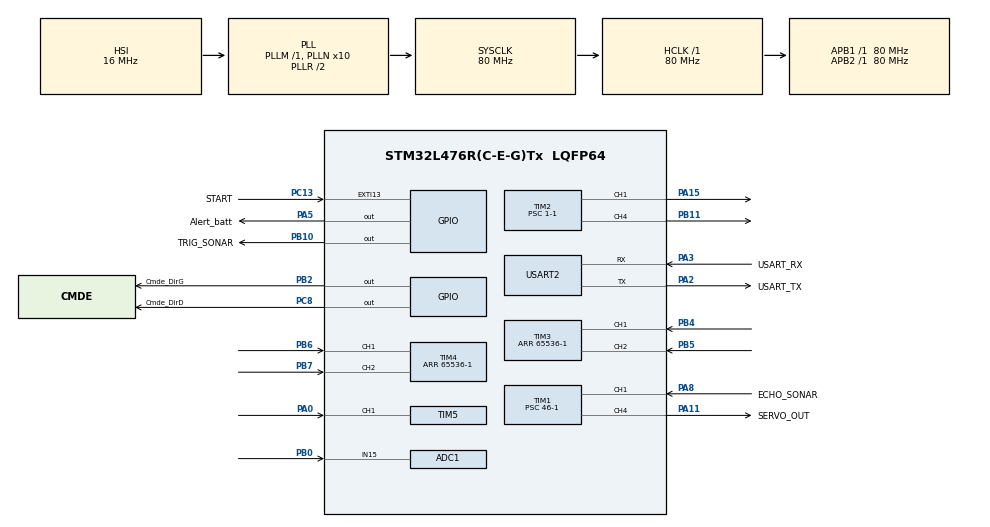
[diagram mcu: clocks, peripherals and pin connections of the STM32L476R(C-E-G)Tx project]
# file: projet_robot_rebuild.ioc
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ADC1.Channel-0\#ChannelRegularConversion=ADC_CHANNEL_15
ADC1.ClockPrescaler=ADC_CLOCK_SYNC_PCLK_DIV1
ADC1.NbrOfConversionFlag=1
ADC1.OffsetNumber-0\#ChannelRegularConversion=ADC_OFFSET_NONE
ADC1.Rank-0\#ChannelRegularConversion=1
ADC1.Resolution=ADC_RESOLUTION_8B
ADC1.SamplingTime-0\#ChannelRegularConversion=ADC_SAMPLETIME_2CYCLES_5
ADC1.master=1
Mcu.Family=STM32L4
Mcu.Name=STM32L476R(C-E-G)Tx
Mcu.Package=LQFP64
NVIC.ADC1_2_IRQn=true\:0\:0\:false\:false\:true\:true\:true\:true
NVIC.EXTI15_10_IRQn=true\:0\:0\:false\:false\:true\:true\:true\:true
NVIC.PriorityGroup=NVIC_PRIORITYGROUP_4
NVIC.TIM1_CC_IRQn=true\:0\:0\:false\:false\:true\:true\:true\:true
NVIC.TIM5_IRQn=true\:0\:0\:false\:false\:true\:true\:true\:true
NVIC.TIM6_DAC_IRQn=true\:0\:0\:false\:false\:true\:true\:true\:true
NVIC.TIM7_IRQn=true\:0\:0\:false\:false\:true\:true\:true\:true
PA0.Signal=S_TIM5_CH1
PA11.GPIO_Label=SERVO_OUT
PA11.Signal=S_TIM1_CH4
PA13\ (JTMS-SWDIO).GPIO_Label=TMS
PA13\ (JTMS-SWDIO).Mode=Serial_Wire
PA13\ (JTMS-SWDIO).Signal=SYS_JTMS-SWDIO
PA14\ (JTCK-SWCLK).GPIO_Label=TCK
PA14\ (JTCK-SWCLK).Mode=Serial_Wire
PA14\ (JTCK-SWCLK).Signal=SYS_JTCK-SWCLK
PA15\ (JTDI).Signal=S_TIM2_CH1
PA2.GPIO_Label=USART_TX
PA2.GPIO_Mode=GPIO_MODE_AF_PP
PA2.GPIO_PuPd=GPIO_NOPULL
PA2.GPIO_Speed=GPIO_SPEED_FREQ_VERY_HIGH
PA2.Mode=Asynchronous
PA2.Signal=USART2_TX
PA3.GPIO_Label=USART_RX
PA3.GPIO_Mode=GPIO_MODE_AF_PP
PA3.GPIO_PuPd=GPIO_NOPULL
PA3.GPIO_Speed=GPIO_SPEED_FREQ_VERY_HIGH
PA3.Mode=Asynchronous
PA3.Signal=USART2_RX
PA5.GPIO_Label=Alert_batt
PA5.GPIO_ModeDefaultOutputPP=GPIO_MODE_OUTPUT_PP
PA5.GPIO_PuPd=GPIO_NOPULL
PA5.GPIO_Speed=GPIO_SPEED_FREQ_LOW
PA5.Signal=GPIO_Output
PA8.GPIO_Label=ECHO_SONAR
PA8.Signal=S_TIM1_CH1
PB0.Signal=ADCx_IN15
PB10.GPIO_Label=TRIG_SONAR
PB10.Signal=GPIO_Output
PB11.Signal=S_TIM2_CH4
PB2.GPIO_Label=Cmde_DirG
PB2.Signal=GPIO_Output
PB3\ (JTDO-TRACESWO).GPIO_Label=SWO
PB3\ (JTDO-TRACESWO).Signal=SYS_JTDO-SWO
PB4\ (NJTRST).Signal=S_TIM3_CH1
PB5.Signal=S_TIM3_CH2
PB6.Signal=S_TIM4_CH1
PB7.Signal=S_TIM4_CH2
PC13.GPIO_Label=START
PC13.GPIO_ModeDefaultEXTI=GPIO_MODE_IT_FALLING
PC13.GPIO_PuPd=GPIO_NOPULL
PC13.Signal=GPXTI13
PC14-OSC32_IN\ (PC14).Mode=LSE-External-Oscillator
PC14-OSC32_IN\ (PC14).Signal=RCC_OSC32_IN
PC15-OSC32_OUT\ (PC15).Mode=LSE-External-Oscillator
PC15-OSC32_OUT\ (PC15).Signal=RCC_OSC32_OUT
PC8.GPIO_Label=Cmde_DirD
PC8.Signal=GPIO_Output
PH0-OSC_IN\ (PH0).Signal=RCC_OSC_IN
PH1-OSC_OUT\ (PH1).Signal=RCC_OSC_OUT
ProjectManager.HeapSize=0x200
ProjectManager.StackSize=0x400
ProjectManager.TargetToolchain=STM32CubeIDE
RCC.ADCFreq_Value=64000000
RCC.AHBFreq_Value=80000000
RCC.APB1Freq_Value=80000000
RCC.APB1TimFreq_Value=80000000
RCC.APB2Freq_Value=80000000
RCC.APB2TimFreq_Value=80000000
RCC.CortexFreq_Value=80000000
RCC.HCLKFreq_Value=80000000
RCC.HSE_VALUE=8000000
RCC.HSI_VALUE=16000000
RCC.MSI_VALUE=4000000
RCC.PLLN=10
RCC.PLLSourceVirtual=RCC_PLLSOURCE_HSI
RCC.PREFETCH_ENABLE=1
RCC.SYSCLKFreq_VALUE=80000000
RCC.SYSCLKSource=RCC_SYSCLKSOURCE_PLLCLK
RCC.USBFreq_Value=64000000
RCC.VCOOutputFreq_Value=160000000
SH.ADCx_IN15.0=ADC1_IN15,IN15-Single-Ended
SH.S_TIM1_CH1.0=TIM1_CH1,PWM_Input_1
SH.S_TIM1_CH4.0=TIM1_CH4,PWM Generation4 CH4
SH.S_TIM2_CH1.0=TIM2_CH1,PWM Generation1 CH1
SH.S_TIM2_CH4.0=TIM2_CH4,PWM Generation4 CH4
SH.S_TIM3_CH1.0=TIM3_CH1,Encoder_Interface
SH.S_TIM3_CH2.0=TIM3_CH2,Encoder_Interface
SH.S_TIM4_CH1.0=TIM4_CH1,Encoder_Interface
SH.S_TIM4_CH2.0=TIM4_CH2,Encoder_Interface
SH.S_TIM5_CH1.0=TIM5_CH1,Input_Capture1_from_TI1
TIM1.AutoReloadPreload=TIM_AUTORELOAD_PRELOAD_ENABLE
TIM1.Channel-PWM\ Generation4\ CH4=TIM_CHANNEL_4
TIM1.ClockDivision=TIM_CLOCKDIVISION_DIV1
TIM1.ICFilter_1=5
TIM1.ICFilter_2=5
TIM1.Period=0xFFFF
TIM1.Prescaler=46-1
TIM2.Channel-PWM\ Generation1\ CH1=TIM_CHANNEL_1
TIM2.Channel-PWM\ Generation4\ CH4=TIM_CHANNEL_4
TIM2.Period=80000-1
TIM2.Prescaler=1-1
TIM3.EncoderMode=TIM_ENCODERMODE_TI12
TIM3.Period=65536-1
TIM4.EncoderMode=TIM_ENCODERMODE_TI12
TIM4.Period=65536-1
TIM5.Channel-Input_Capture1_from_TI1=TIM_CHANNEL_1
TIM5.Period=63999
TIM5.Prescaler=124
TIM6.Period=6552-1
TIM6.Prescaler=1221-1
TIM7.Period=63999
TIM7.Prescaler=124
USART2.VirtualMode-Asynchronous=VM_ASYNC
VP_TIM1_VS_ClockSourceINT.Mode=Internal
VP_TIM2_VS_ClockSourceINT.Mode=Internal
VP_TIM5_VS_ClockSourceINT.Mode=Internal
VP_TIM6_VS_ClockSourceINT.Mode=Enable_Timer
VP_TIM7_VS_ClockSourceINT.Mode=Enable_Timer
board=NUCLEO-L476RG

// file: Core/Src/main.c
/* USER CODE BEGIN Header */
/**
  ******************************************************************************
  * @file           : main.c
  * @brief          : Main program body
  ******************************************************************************
  * @attention
  *
  * Copyright (c) 2024 STMicroelectronics.
  * All rights reserved.
  *
  * This software is licensed under terms that can be found in the LICENSE file
  * in the root directory of this software component.
  * If no LICENSE file comes with this software, it is provided AS-IS.
  *
  ******************************************************************************
  */
/* USER CODE END Header */
#include "main.h"

/* USER CODE BEGIN Includes */
#include "retarget.h"
#include "stdio.h"
#include "stdlib.h"
#include "math.h"
/* USER CODE END Includes */

/* USER CODE BEGIN PD */
#define SEUIL_BATTERIE 75

#define ARR 16000
#define PRESCALAR  18
#define TIMCLOCK   90000000

#define ARR_MOT 80000

#define PI 3.141592
#define R 0.032

#define KpG 1
#define KiG 0.75

#define KpD 1
#define KiD 0.75

#define NbVals 5 // Pour le capteur ultrasons

#define DELAY_TOURNER 1500
#define VITESSE_TOURNER 60

#define DELAY_MESURE 1000

#define DELAY_TRANSITION 1000

#define VITESSE 40
/* USER CODE END PD */

ADC_HandleTypeDef hadc1;

TIM_HandleTypeDef htim1;
TIM_HandleTypeDef htim2;
TIM_HandleTypeDef htim3;
TIM_HandleTypeDef htim4;
TIM_HandleTypeDef htim5;
TIM_HandleTypeDef htim6;
TIM_HandleTypeDef htim7;

UART_HandleTypeDef huart2;

void SystemClock_Config(void);
static void MX_GPIO_Init(void);
static void MX_USART2_UART_Init(void);
static void MX_ADC1_Init(void);
static void MX_TIM1_Init(void);
static void MX_TIM2_Init(void);
static void MX_TIM3_Init(void);
static void MX_TIM4_Init(void);
static void MX_TIM5_Init(void);
static void MX_TIM6_Init(void);
static void MX_TIM7_Init(void);
/* USER CODE BEGIN PFP */
void captureDist();
void avancerG(uint8_t rc, int dir);
void avancerD(uint8_t rc, int dir);
void Arreter();
void Avancer();
void tourner(int sens);
/* USER CODE END PFP */

/* USER CODE BEGIN 0 */
volatile int kTrig = 0;
volatile int somme = 0;
volatile int Distance = 0;
volatile int moyenne = 0;

volatile int mesureTerminee = 0;

volatile int T_batt = 0;
volatile int go = 0;
uint32_t Vbatt = 0;

volatile int x = 0;
volatile int y = 0;

//////////////////////////////////////////////////
volatile int x_obj = 0;
volatile int y_obj = 0;
//////////////////////////////////////////////////

volatile int IC_Val = 0;

volatile int TickG1 = 0;
volatile int TickG2 = 0;

volatile int deltaTickG = 0;

volatile int TickD1 = 0;
volatile int TickD2 = 0;

volatile int deltaTickD = 0;

volatile int captureG = 1;
volatile int captureD = 1;

volatile int vitesseConsigne = 30;

volatile int vitesseActuelleG = 0;
volatile int vitesseConsigneG = 0; // Entre 0 et 100
volatile int epsilonG = 0;
volatile int somme_erreursG = 0;

volatile int vitesseActuelleD = 0;
volatile int vitesseConsigneD = 0; // Entre 0 et 100
volatile int epsilonD = 0;
volatile int somme_erreursD = 0;

volatile int avancer = 1;

volatile int phaseX = 0;
volatile int phaseY = 0;

volatile int dir_global = 1;
/* USER CODE END 0 */

int main(void)
{

  /* USER CODE BEGIN 1 */
int firstStart = 1;
  /* USER CODE END 1 */

  /* MCU Configuration--------------------------------------------------------*/

  /* Reset of all peripherals, Initializes the Flash interface and the Systick. */
  HAL_Init();

  /* Configure the system clock */
  SystemClock_Config();

  /* Initialize all configured peripherals */
  MX_GPIO_Init();
  MX_USART2_UART_Init();
  MX_ADC1_Init();
  MX_TIM1_Init();
  MX_TIM2_Init();
  MX_TIM3_Init();
  MX_TIM4_Init();
  MX_TIM5_Init();
  MX_TIM6_Init();
  MX_TIM7_Init();
  /* USER CODE BEGIN 2 */
RetargetInit(&huart2);
HAL_TIM_Base_Start(&htim1);
HAL_TIM_PWM_Start(&htim1, TIM_CHANNEL_4);
HAL_TIM_IC_Start_IT(&htim1, TIM_CHANNEL_2);

HAL_TIM_Base_Start_IT(&htim5);
HAL_TIM_Base_Start_IT(&htim7);

HAL_TIM_PWM_Start(&htim2, TIM_CHANNEL_4);
HAL_TIM_PWM_Start(&htim2, TIM_CHANNEL_1);
HAL_TIM_Encoder_Start(&htim3, TIM_CHANNEL_ALL);
HAL_TIM_Encoder_Start(&htim4, TIM_CHANNEL_ALL);

HAL_TIM_Base_Start_IT(&htim6);

Arreter();
HAL_Delay(1000);
Avancer();

  /* USER CODE END 2 */

  /* Infinite loop */
  /* USER CODE BEGIN WHILE */

  while (1)
  {
	  if (go) {

		  if (firstStart == 1) {
			  captureDist();
			  HAL_Delay(DELAY_MESURE);
			  y = Distance;

			  if (y > y_obj) {
				  phaseY = 1;
				  dir_global = 1;
			  }
			  else {
				  phaseY = 2;
				  dir_global = 0;
			  }
			  vitesseConsigne = VITESSE;
			  avancer = 1;

		  }
		  firstStart = 0;

		  if (phaseY == 1) {
			  y=Distance;

			  if (y < y_obj) {
				  phaseY = 0;
				  Arreter();
				  HAL_Delay(DELAY_TRANSITION);
				  tourner(1);

				  x = Distance;

				  if (x < x_obj) {
					  phaseX = 1;
					  dir_global = 1;
					  Avancer();
				  }
				  else {
					  phaseX = 2;
					  dir_global = 0;
					  Avancer();
				  }
			  }
		  }

		  if (phaseY == 2) {
			  y=Distance;

			  if (y > y_obj) {
		  			phaseY = 0;
		  			Arreter();
		  			HAL_Delay(DELAY_TRANSITION);
		  			tourner(1);

		  			x = Distance;

		  			if (x < x_obj) {
		  				phaseX = 1;
		  				dir_global = 1;
		  				Avancer();
		  			}
		  			else {
		  				phaseX = 2;
		  				dir_global = 0;
		  				Avancer();
		  			}
		  		}
		  	}

		  /////////////////////// PhaseX

		  if (phaseX == 1) {
			  x = Distance;

			  if (x < x_obj) {
				  phaseX = 0;
				  Arreter();
				  HAL_Delay(DELAY_TRANSITION);
				  tourner(-1); // Permet de se repositionner face au mur
			  }

		  }

		  if (phaseX == 2) {
			  x = Distance;

			  if (x > x_obj) {
				  phaseX = 0;
				  Arreter();
				  HAL_Delay(DELAY_TRANSITION);
				  tourner(-1); // Permet de se repositionner face au mur
			  }
		  }
	  }
    /* USER CODE END WHILE */

  }
}

void SystemClock_Config(void)
{
  RCC_OscInitTypeDef RCC_OscInitStruct = {0};
  RCC_ClkInitTypeDef RCC_ClkInitStruct = {0};

  /** Configure the main internal regulator output voltage
  */
  if (HAL_PWREx_ControlVoltageScaling(PWR_REGULATOR_VOLTAGE_SCALE1) != HAL_OK)
  {
    Error_Handler();
  }

  /** Initializes the RCC Oscillators according to the specified parameters
  * in the RCC_OscInitTypeDef structure.
  */
  RCC_OscInitStruct.OscillatorType = RCC_OSCILLATORTYPE_HSI;
  RCC_OscInitStruct.HSIState = RCC_HSI_ON;
  RCC_OscInitStruct.HSICalibrationValue = RCC_HSICALIBRATION_DEFAULT;
  RCC_OscInitStruct.PLL.PLLState = RCC_PLL_ON;
  RCC_OscInitStruct.PLL.PLLSource = RCC_PLLSOURCE_HSI;
  RCC_OscInitStruct.PLL.PLLM = 1;
  RCC_OscInitStruct.PLL.PLLN = 10;
  RCC_OscInitStruct.PLL.PLLP = RCC_PLLP_DIV7;
  RCC_OscInitStruct.PLL.PLLQ = RCC_PLLQ_DIV2;
  RCC_OscInitStruct.PLL.PLLR = RCC_PLLR_DIV2;
  if (HAL_RCC_OscConfig(&RCC_OscInitStruct) != HAL_OK)
  {
    Error_Handler();
  }

  /** Initializes the CPU, AHB and APB buses clocks
  */
  RCC_ClkInitStruct.ClockType = RCC_CLOCKTYPE_HCLK|RCC_CLOCKTYPE_SYSCLK
                              |RCC_CLOCKTYPE_PCLK1|RCC_CLOCKTYPE_PCLK2;
  RCC_ClkInitStruct.SYSCLKSource = RCC_SYSCLKSOURCE_PLLCLK;
  RCC_ClkInitStruct.AHBCLKDivider = RCC_SYSCLK_DIV1;
  RCC_ClkInitStruct.APB1CLKDivider = RCC_HCLK_DIV1;
  RCC_ClkInitStruct.APB2CLKDivider = RCC_HCLK_DIV1;

  if (HAL_RCC_ClockConfig(&RCC_ClkInitStruct, FLASH_LATENCY_4) != HAL_OK)
  {
    Error_Handler();
  }
}

static void MX_ADC1_Init(void)
{

  ADC_MultiModeTypeDef multimode = {0};
  ADC_ChannelConfTypeDef sConfig = {0};

  /** Common config
  */
  hadc1.Instance = ADC1;
  hadc1.Init.ClockPrescaler = ADC_CLOCK_SYNC_PCLK_DIV1;
  hadc1.Init.Resolution = ADC_RESOLUTION_8B;
  hadc1.Init.DataAlign = ADC_DATAALIGN_RIGHT;
  hadc1.Init.ScanConvMode = ADC_SCAN_DISABLE;
  hadc1.Init.EOCSelection = ADC_EOC_SINGLE_CONV;
  hadc1.Init.LowPowerAutoWait = DISABLE;
  hadc1.Init.ContinuousConvMode = DISABLE;
  hadc1.Init.NbrOfConversion = 1;
  hadc1.Init.DiscontinuousConvMode = DISABLE;
  hadc1.Init.ExternalTrigConv = ADC_SOFTWARE_START;
  hadc1.Init.ExternalTrigConvEdge = ADC_EXTERNALTRIGCONVEDGE_NONE;
  hadc1.Init.DMAContinuousRequests = DISABLE;
  hadc1.Init.Overrun = ADC_OVR_DATA_PRESERVED;
  hadc1.Init.OversamplingMode = DISABLE;
  if (HAL_ADC_Init(&hadc1) != HAL_OK)
  {
    Error_Handler();
  }

  /** Configure the ADC multi-mode
  */
  multimode.Mode = ADC_MODE_INDEPENDENT;
  if (HAL_ADCEx_MultiModeConfigChannel(&hadc1, &multimode) != HAL_OK)
  {
    Error_Handler();
  }

  /** Configure Regular Channel
  */
  sConfig.Channel = ADC_CHANNEL_15;
  sConfig.Rank = ADC_REGULAR_RANK_1;
  sConfig.SamplingTime = ADC_SAMPLETIME_2CYCLES_5;
  sConfig.SingleDiff = ADC_SINGLE_ENDED;
  sConfig.OffsetNumber = ADC_OFFSET_NONE;
  sConfig.Offset = 0;
  if (HAL_ADC_ConfigChannel(&hadc1, &sConfig) != HAL_OK)
  {
    Error_Handler();
  }

}

static void MX_TIM1_Init(void)
{

  TIM_ClockConfigTypeDef sClockSourceConfig = {0};
  TIM_SlaveConfigTypeDef sSlaveConfig = {0};
  TIM_IC_InitTypeDef sConfigIC = {0};
  TIM_MasterConfigTypeDef sMasterConfig = {0};
  TIM_OC_InitTypeDef sConfigOC = {0};
  TIM_BreakDeadTimeConfigTypeDef sBreakDeadTimeConfig = {0};

  htim1.Instance = TIM1;
  htim1.Init.Prescaler = 46-1;
  htim1.Init.CounterMode = TIM_COUNTERMODE_UP;
  htim1.Init.Period = 0xFFFF;
  htim1.Init.ClockDivision = TIM_CLOCKDIVISION_DIV1;
  htim1.Init.RepetitionCounter = 0;
  htim1.Init.AutoReloadPreload = TIM_AUTORELOAD_PRELOAD_ENABLE;
  if (HAL_TIM_Base_Init(&htim1) != HAL_OK)
  {
    Error_Handler();
  }
  sClockSourceConfig.ClockSource = TIM_CLOCKSOURCE_INTERNAL;
  if (HAL_TIM_ConfigClockSource(&htim1, &sClockSourceConfig) != HAL_OK)
  {
    Error_Handler();
  }
  if (HAL_TIM_PWM_Init(&htim1) != HAL_OK)
  {
    Error_Handler();
  }
  if (HAL_TIM_IC_Init(&htim1) != HAL_OK)
  {
    Error_Handler();
  }
  sSlaveConfig.SlaveMode = TIM_SLAVEMODE_RESET;
  sSlaveConfig.InputTrigger = TIM_TS_TI1FP1;
  sSlaveConfig.TriggerPolarity = TIM_INPUTCHANNELPOLARITY_RISING;
  sSlaveConfig.TriggerPrescaler = TIM_ICPSC_DIV1;
  sSlaveConfig.TriggerFilter = 5;
  if (HAL_TIM_SlaveConfigSynchro(&htim1, &sSlaveConfig) != HAL_OK)
  {
    Error_Handler();
  }
  sConfigIC.ICPolarity = TIM_INPUTCHANNELPOLARITY_RISING;
  sConfigIC.ICSelection = TIM_ICSELECTION_DIRECTTI;
  sConfigIC.ICPrescaler = TIM_ICPSC_DIV1;
  sConfigIC.ICFilter = 5;
  if (HAL_TIM_IC_ConfigChannel(&htim1, &sConfigIC, TIM_CHANNEL_1) != HAL_OK)
  {
    Error_Handler();
  }
  sConfigIC.ICPolarity = TIM_INPUTCHANNELPOLARITY_FALLING;
  sConfigIC.ICSelection = TIM_ICSELECTION_INDIRECTTI;
  if (HAL_TIM_IC_ConfigChannel(&htim1, &sConfigIC, TIM_CHANNEL_2) != HAL_OK)
  {
    Error_Handler();
  }
  sMasterConfig.MasterOutputTrigger = TIM_TRGO_RESET;
  sMasterConfig.MasterOutputTrigger2 = TIM_TRGO2_RESET;
  sMasterConfig.MasterSlaveMode = TIM_MASTERSLAVEMODE_DISABLE;
  if (HAL_TIMEx_MasterConfigSynchronization(&htim1, &sMasterConfig) != HAL_OK)
  {
    Error_Handler();
  }
  sConfigOC.OCMode = TIM_OCMODE_PWM1;
  sConfigOC.Pulse = 0;
  sConfigOC.OCPolarity = TIM_OCPOLARITY_HIGH;
  sConfigOC.OCFastMode = TIM_OCFAST_DISABLE;
  sConfigOC.OCIdleState = TIM_OCIDLESTATE_RESET;
  sConfigOC.OCNIdleState = TIM_OCNIDLESTATE_RESET;
  if (HAL_TIM_PWM_ConfigChannel(&htim1, &sConfigOC, TIM_CHANNEL_4) != HAL_OK)
  {
    Error_Handler();
  }
  sBreakDeadTimeConfig.OffStateRunMode = TIM_OSSR_DISABLE;
  sBreakDeadTimeConfig.OffStateIDLEMode = TIM_OSSI_DISABLE;
  sBreakDeadTimeConfig.LockLevel = TIM_LOCKLEVEL_OFF;
  sBreakDeadTimeConfig.DeadTime = 0;
  sBreakDeadTimeConfig.BreakState = TIM_BREAK_DISABLE;
  sBreakDeadTimeConfig.BreakPolarity = TIM_BREAKPOLARITY_HIGH;
  sBreakDeadTimeConfig.BreakFilter = 0;
  sBreakDeadTimeConfig.Break2State = TIM_BREAK2_DISABLE;
  sBreakDeadTimeConfig.Break2Polarity = TIM_BREAK2POLARITY_HIGH;
  sBreakDeadTimeConfig.Break2Filter = 0;
  sBreakDeadTimeConfig.AutomaticOutput = TIM_AUTOMATICOUTPUT_DISABLE;
  if (HAL_TIMEx_ConfigBreakDeadTime(&htim1, &sBreakDeadTimeConfig) != HAL_OK)
  {
    Error_Handler();
  }
  HAL_TIM_MspPostInit(&htim1);

}

static void MX_TIM2_Init(void)
{

  TIM_ClockConfigTypeDef sClockSourceConfig = {0};
  TIM_MasterConfigTypeDef sMasterConfig = {0};
  TIM_OC_InitTypeDef sConfigOC = {0};

  htim2.Instance = TIM2;
  htim2.Init.Prescaler = 1-1;
  htim2.Init.CounterMode = TIM_COUNTERMODE_UP;
  htim2.Init.Period = 80000-1;
  htim2.Init.ClockDivision = TIM_CLOCKDIVISION_DIV1;
  htim2.Init.AutoReloadPreload = TIM_AUTORELOAD_PRELOAD_DISABLE;
  if (HAL_TIM_Base_Init(&htim2) != HAL_OK)
  {
    Error_Handler();
  }
  sClockSourceConfig.ClockSource = TIM_CLOCKSOURCE_INTERNAL;
  if (HAL_TIM_ConfigClockSource(&htim2, &sClockSourceConfig) != HAL_OK)
  {
    Error_Handler();
  }
  if (HAL_TIM_PWM_Init(&htim2) != HAL_OK)
  {
    Error_Handler();
  }
  sMasterConfig.MasterOutputTrigger = TIM_TRGO_RESET;
  sMasterConfig.MasterSlaveMode = TIM_MASTERSLAVEMODE_DISABLE;
  if (HAL_TIMEx_MasterConfigSynchronization(&htim2, &sMasterConfig) != HAL_OK)
  {
    Error_Handler();
  }
  sConfigOC.OCMode = TIM_OCMODE_PWM1;
  sConfigOC.Pulse = 0;
  sConfigOC.OCPolarity = TIM_OCPOLARITY_HIGH;
  sConfigOC.OCFastMode = TIM_OCFAST_DISABLE;
  if (HAL_TIM_PWM_ConfigChannel(&htim2, &sConfigOC, TIM_CHANNEL_1) != HAL_OK)
  {
    Error_Handler();
  }
  if (HAL_TIM_PWM_ConfigChannel(&htim2, &sConfigOC, TIM_CHANNEL_4) != HAL_OK)
  {
    Error_Handler();
  }
  HAL_TIM_MspPostInit(&htim2);

}

static void MX_TIM3_Init(void)
{

  TIM_Encoder_InitTypeDef sConfig = {0};
  TIM_MasterConfigTypeDef sMasterConfig = {0};

  htim3.Instance = TIM3;
  htim3.Init.Prescaler = 0;
  htim3.Init.CounterMode = TIM_COUNTERMODE_UP;
  htim3.Init.Period = 65536-1;
  htim3.Init.ClockDivision = TIM_CLOCKDIVISION_DIV1;
  htim3.Init.AutoReloadPreload = TIM_AUTORELOAD_PRELOAD_DISABLE;
  sConfig.EncoderMode = TIM_ENCODERMODE_TI12;
  sConfig.IC1Polarity = TIM_ICPOLARITY_RISING;
  sConfig.IC1Selection = TIM_ICSELECTION_DIRECTTI;
  sConfig.IC1Prescaler = TIM_ICPSC_DIV1;
  sConfig.IC1Filter = 0;
  sConfig.IC2Polarity = TIM_ICPOLARITY_RISING;
  sConfig.IC2Selection = TIM_ICSELECTION_DIRECTTI;
  sConfig.IC2Prescaler = TIM_ICPSC_DIV1;
  sConfig.IC2Filter = 0;
  if (HAL_TIM_Encoder_Init(&htim3, &sConfig) != HAL_OK)
  {
    Error_Handler();
  }
  sMasterConfig.MasterOutputTrigger = TIM_TRGO_RESET;
  sMasterConfig.MasterSlaveMode = TIM_MASTERSLAVEMODE_DISABLE;
  if (HAL_TIMEx_MasterConfigSynchronization(&htim3, &sMasterConfig) != HAL_OK)
  {
    Error_Handler();
  }

}

static void MX_TIM4_Init(void)
{

  TIM_Encoder_InitTypeDef sConfig = {0};
  TIM_MasterConfigTypeDef sMasterConfig = {0};

  htim4.Instance = TIM4;
  htim4.Init.Prescaler = 0;
  htim4.Init.CounterMode = TIM_COUNTERMODE_UP;
  htim4.Init.Period = 65536-1;
  htim4.Init.ClockDivision = TIM_CLOCKDIVISION_DIV1;
  htim4.Init.AutoReloadPreload = TIM_AUTORELOAD_PRELOAD_DISABLE;
  sConfig.EncoderMode = TIM_ENCODERMODE_TI12;
  sConfig.IC1Polarity = TIM_ICPOLARITY_RISING;
  sConfig.IC1Selection = TIM_ICSELECTION_DIRECTTI;
  sConfig.IC1Prescaler = TIM_ICPSC_DIV1;
  sConfig.IC1Filter = 0;
  sConfig.IC2Polarity = TIM_ICPOLARITY_RISING;
  sConfig.IC2Selection = TIM_ICSELECTION_DIRECTTI;
  sConfig.IC2Prescaler = TIM_ICPSC_DIV1;
  sConfig.IC2Filter = 0;
  if (HAL_TIM_Encoder_Init(&htim4, &sConfig) != HAL_OK)
  {
    Error_Handler();
  }
  sMasterConfig.MasterOutputTrigger = TIM_TRGO_RESET;
  sMasterConfig.MasterSlaveMode = TIM_MASTERSLAVEMODE_DISABLE;
  if (HAL_TIMEx_MasterConfigSynchronization(&htim4, &sMasterConfig) != HAL_OK)
  {
    Error_Handler();
  }

}

static void MX_TIM5_Init(void)
{

  TIM_ClockConfigTypeDef sClockSourceConfig = {0};
  TIM_MasterConfigTypeDef sMasterConfig = {0};
  TIM_IC_InitTypeDef sConfigIC = {0};

  htim5.Instance = TIM5;
  htim5.Init.Prescaler = 124;
  htim5.Init.CounterMode = TIM_COUNTERMODE_UP;
  htim5.Init.Period = 63999;
  htim5.Init.ClockDivision = TIM_CLOCKDIVISION_DIV1;
  htim5.Init.AutoReloadPreload = TIM_AUTORELOAD_PRELOAD_DISABLE;
  if (HAL_TIM_Base_Init(&htim5) != HAL_OK)
  {
    Error_Handler();
  }
  sClockSourceConfig.ClockSource = TIM_CLOCKSOURCE_INTERNAL;
  if (HAL_TIM_ConfigClockSource(&htim5, &sClockSourceConfig) != HAL_OK)
  {
    Error_Handler();
  }
  if (HAL_TIM_IC_Init(&htim5) != HAL_OK)
  {
    Error_Handler();
  }
  sMasterConfig.MasterOutputTrigger = TIM_TRGO_RESET;
  sMasterConfig.MasterSlaveMode = TIM_MASTERSLAVEMODE_DISABLE;
  if (HAL_TIMEx_MasterConfigSynchronization(&htim5, &sMasterConfig) != HAL_OK)
  {
    Error_Handler();
  }
  sConfigIC.ICPolarity = TIM_INPUTCHANNELPOLARITY_RISING;
  sConfigIC.ICSelection = TIM_ICSELECTION_DIRECTTI;
  sConfigIC.ICPrescaler = TIM_ICPSC_DIV1;
  sConfigIC.ICFilter = 0;
  if (HAL_TIM_IC_ConfigChannel(&htim5, &sConfigIC, TIM_CHANNEL_1) != HAL_OK)
  {
    Error_Handler();
  }

}

static void MX_TIM6_Init(void)
{

  TIM_MasterConfigTypeDef sMasterConfig = {0};

  htim6.Instance = TIM6;
  htim6.Init.Prescaler = 1221-1;
  htim6.Init.CounterMode = TIM_COUNTERMODE_UP;
  htim6.Init.Period = 6552-1;
  htim6.Init.AutoReloadPreload = TIM_AUTORELOAD_PRELOAD_DISABLE;
  if (HAL_TIM_Base_Init(&htim6) != HAL_OK)
  {
    Error_Handler();
  }
  sMasterConfig.MasterOutputTrigger = TIM_TRGO_RESET;
  sMasterConfig.MasterSlaveMode = TIM_MASTERSLAVEMODE_DISABLE;
  if (HAL_TIMEx_MasterConfigSynchronization(&htim6, &sMasterConfig) != HAL_OK)
  {
    Error_Handler();
  }

}

static void MX_TIM7_Init(void)
{

  TIM_MasterConfigTypeDef sMasterConfig = {0};

  htim7.Instance = TIM7;
  htim7.Init.Prescaler = 124;
  htim7.Init.CounterMode = TIM_COUNTERMODE_UP;
  htim7.Init.Period = 63999;
  htim7.Init.AutoReloadPreload = TIM_AUTORELOAD_PRELOAD_DISABLE;
  if (HAL_TIM_Base_Init(&htim7) != HAL_OK)
  {
    Error_Handler();
  }
  sMasterConfig.MasterOutputTrigger = TIM_TRGO_RESET;
  sMasterConfig.MasterSlaveMode = TIM_MASTERSLAVEMODE_DISABLE;
  if (HAL_TIMEx_MasterConfigSynchronization(&htim7, &sMasterConfig) != HAL_OK)
  {
    Error_Handler();
  }

}

static void MX_USART2_UART_Init(void)
{

  huart2.Instance = USART2;
  huart2.Init.BaudRate = 115200;
  huart2.Init.WordLength = UART_WORDLENGTH_8B;
  huart2.Init.StopBits = UART_STOPBITS_1;
  huart2.Init.Parity = UART_PARITY_NONE;
  huart2.Init.Mode = UART_MODE_TX_RX;
  huart2.Init.HwFlowCtl = UART_HWCONTROL_NONE;
  huart2.Init.OverSampling = UART_OVERSAMPLING_16;
  huart2.Init.OneBitSampling = UART_ONE_BIT_SAMPLE_DISABLE;
  huart2.AdvancedInit.AdvFeatureInit = UART_ADVFEATURE_NO_INIT;
  if (HAL_UART_Init(&huart2) != HAL_OK)
  {
    Error_Handler();
  }

}

static void MX_GPIO_Init(void)
{
  GPIO_InitTypeDef GPIO_InitStruct = {0};

  /* GPIO Ports Clock Enable */
  __HAL_RCC_GPIOC_CLK_ENABLE();
  __HAL_RCC_GPIOH_CLK_ENABLE();
  __HAL_RCC_GPIOA_CLK_ENABLE();
  __HAL_RCC_GPIOB_CLK_ENABLE();

  /*Configure GPIO pin Output Level */
  HAL_GPIO_WritePin(Alert_batt_GPIO_Port, Alert_batt_Pin, GPIO_PIN_RESET);

  /*Configure GPIO pin Output Level */
  HAL_GPIO_WritePin(GPIOB, Cmde_DirG_Pin|TRIG_SONAR_Pin, GPIO_PIN_RESET);

  /*Configure GPIO pin Output Level */
  HAL_GPIO_WritePin(Cmde_DirD_GPIO_Port, Cmde_DirD_Pin, GPIO_PIN_RESET);

  /*Configure GPIO pin : START_Pin */
  GPIO_InitStruct.Pin = START_Pin;
  GPIO_InitStruct.Mode = GPIO_MODE_IT_FALLING;
  GPIO_InitStruct.Pull = GPIO_NOPULL;
  HAL_GPIO_Init(START_GPIO_Port, &GPIO_InitStruct);

  /*Configure GPIO pin : Alert_batt_Pin */
  GPIO_InitStruct.Pin = Alert_batt_Pin;
  GPIO_InitStruct.Mode = GPIO_MODE_OUTPUT_PP;
  GPIO_InitStruct.Pull = GPIO_NOPULL;
  GPIO_InitStruct.Speed = GPIO_SPEED_FREQ_LOW;
  HAL_GPIO_Init(Alert_batt_GPIO_Port, &GPIO_InitStruct);

  /*Configure GPIO pins : Cmde_DirG_Pin TRIG_SONAR_Pin */
  GPIO_InitStruct.Pin = Cmde_DirG_Pin|TRIG_SONAR_Pin;
  GPIO_InitStruct.Mode = GPIO_MODE_OUTPUT_PP;
  GPIO_InitStruct.Pull = GPIO_NOPULL;
  GPIO_InitStruct.Speed = GPIO_SPEED_FREQ_LOW;
  HAL_GPIO_Init(GPIOB, &GPIO_InitStruct);

  /*Configure GPIO pin : Cmde_DirD_Pin */
  GPIO_InitStruct.Pin = Cmde_DirD_Pin;
  GPIO_InitStruct.Mode = GPIO_MODE_OUTPUT_PP;
  GPIO_InitStruct.Pull = GPIO_NOPULL;
  GPIO_InitStruct.Speed = GPIO_SPEED_FREQ_LOW;
  HAL_GPIO_Init(Cmde_DirD_GPIO_Port, &GPIO_InitStruct);

  /* EXTI interrupt init*/
  HAL_NVIC_SetPriority(EXTI15_10_IRQn, 0, 0);
  HAL_NVIC_EnableIRQ(EXTI15_10_IRQn);

}

/* USER CODE BEGIN 4 */
void avancerG(uint8_t rc, int dir) {
	HAL_GPIO_WritePin(Cmde_DirG_GPIO_Port, Cmde_DirG_Pin, dir);
	__HAL_TIM_SET_COMPARE(&htim2, TIM_CHANNEL_1, (rc*ARR_MOT)/100);

}

void avancerD(uint8_t rc, int dir) {
	HAL_GPIO_WritePin(Cmde_DirD_GPIO_Port, Cmde_DirD_Pin, dir);
	__HAL_TIM_SET_COMPARE(&htim2, TIM_CHANNEL_4, (rc*ARR_MOT)/100);

}

void Arreter() {
	avancer = 0;
	avancerD(0,1);
	avancerG(0,1);
	vitesseConsigne = 0;
}

void Avancer() {
	avancer = 1;
	avancerD(vitesseConsigne, dir_global);
	avancerG(vitesseConsigne, dir_global);
	vitesseConsigne = VITESSE;
}

void tourner(int sens) {
	avancer = 0;
	if (sens == 1) {
		avancerD(VITESSE_TOURNER, 1);
		avancerG(VITESSE_TOURNER, 0);
		HAL_Delay(DELAY_TOURNER);
		Arreter();
	}

	if (sens == -1) {
		avancerD(VITESSE_TOURNER, 0);
		avancerG(VITESSE_TOURNER, -1);
		HAL_Delay(DELAY_TOURNER);
		Arreter();
	}

	HAL_Delay(DELAY_TRANSITION);

}

void captureDist() {
	somme = 0;
	HAL_GPIO_WritePin(TRIG_SONAR_GPIO_Port, TRIG_SONAR_Pin, GPIO_PIN_SET);
}

void HAL_TIM_IC_CaptureCallback(TIM_HandleTypeDef *htim)
{

	if (htim->Instance == TIM1 && htim->Channel == HAL_TIM_ACTIVE_CHANNEL_2) {
		IC_Val = HAL_TIM_ReadCapturedValue(htim, TIM_CHANNEL_2);
		somme = somme + IC_Val;

		kTrig++;

		if (kTrig == NbVals) {
			// HAL_GPIO_WritePin(TRIG_SONAR_GPIO_Port, TRIG_SONAR_Pin, GPIO_PIN_RESET);
			kTrig = 0;
			moyenne = somme / NbVals;
			Distance = moyenne / 100;
			somme = 0;
		}
	}
}

void HAL_ADC_ConvCpltCallback(ADC_HandleTypeDef* hadc) {
	if(hadc->Instance == ADC1) {
		Vbatt = HAL_ADC_GetValue(&hadc1);
		printf("Test batterie : %ld \r\n", Vbatt);
		HAL_ADC_Stop_IT(&hadc1);

		if (Vbatt < SEUIL_BATTERIE) {
			printf("Batterie faible \r\n : %ld", Vbatt);
			HAL_GPIO_WritePin(Alert_batt_GPIO_Port, Alert_batt_Pin, GPIO_PIN_SET);
		}
		else {
			HAL_GPIO_WritePin(Alert_batt_GPIO_Port, Alert_batt_Pin, GPIO_PIN_RESET);
		}
	}
}

void HAL_TIM_PeriodElapsedCallback(TIM_HandleTypeDef *htim) {
  if (htim->Instance == TIM6) {
	  T_batt++;
	  if (T_batt > 50) {
		  T_batt = 0;
		  HAL_ADC_Start_IT(&hadc1);
	  }
    }

  if (htim->Instance == TIM5 && avancer == 1) {
	  captureG = -captureG;
		  	  if (captureG == 1) {
		  		  TickG1 = __HAL_TIM_GET_COUNTER(&htim4);
		  	  }
		  	  if (captureG == -1) {
		  		  TickG2 = __HAL_TIM_GET_COUNTER(&htim4);
		  	  }
		  	  vitesseConsigneG = vitesseConsigne;

		  	  deltaTickG = abs(TickG1 - TickG2);

		  	  vitesseActuelleG = (int)roundf(((((deltaTickG*2*PI)/347)*R)/0.2)*100);

		  	  epsilonG = vitesseConsigneG - vitesseActuelleG;

		  	  somme_erreursG = epsilonG + somme_erreursG;

		  	  avancerG(KpG*epsilonG + KiG*somme_erreursG, dir_global);
  }

  if (htim->Instance == TIM7 && avancer == 1) {
  	  captureD = -captureD;
  		  	  if (captureD == 1) {
  		  		  TickD1 = __HAL_TIM_GET_COUNTER(&htim3);
  		  	  }
  		  	  if (captureD == -1) {
  		  		  TickD2 = __HAL_TIM_GET_COUNTER(&htim3);
  		  	  }
  		  	  vitesseConsigneD = vitesseConsigne;

  		  	  deltaTickD = abs(TickD1 - TickD2);

  		  	  vitesseActuelleD = (int)roundf(((((deltaTickD*2*PI)/347)*R)/0.1)*100);

  		  	  epsilonD = vitesseConsigneD - vitesseActuelleD;

  		  	  somme_erreursD = epsilonD + somme_erreursD;

  		  	  avancerD(KpD*epsilonD + KiD*somme_erreursD, dir_global);
  	  }
}

void HAL_GPIO_EXTI_Callback(uint16_t GPIO_Pin) {
	if (GPIO_Pin == START_Pin) {
		go = 1;
		//printf("Bouton start appuye \r\n");
	}
}
/* USER CODE END 4 */

void Error_Handler(void)
{
  __disable_irq();
  while (1)
  {
  }
}
